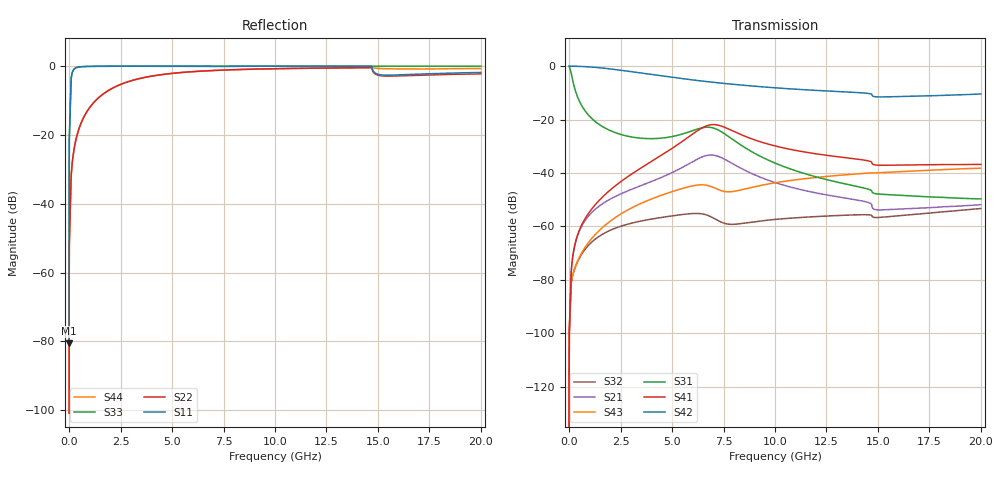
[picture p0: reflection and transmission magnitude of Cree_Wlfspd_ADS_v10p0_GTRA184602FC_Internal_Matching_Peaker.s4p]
! Created Fri Sep 18 17:02:47 2020
# hz S ma R 50
! 4 Port Network Data from SP1.SP block
! freq  magS11  angS11  magS12  angS12  magS13  angS13  magS14  angS14
!  magS21  angS21  magS22  angS22  magS23  angS23  magS24  angS24
!  magS31  angS31  magS32  angS32  magS33  angS33  magS34  angS34
!  magS41  angS41  magS42  angS42  magS43  angS43  magS44  angS44
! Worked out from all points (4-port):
!   1995 points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, 10 kHz to 20 GHz, reference 50 ohm
!   strongest paths, dB at 10 kHz, 5.04 GHz, 10.03 GHz, 15.02 GHz, 20 GHz:
!     S42: 0.0, -4.2, -8.1, -11.5, -10.4
!     S41: -159.2, -30.6, -29.9, -37.1, -36.8
!     S31: 0.0, -26.3, -36.4, -47.9, -49.7
!     S43: -159.2, -46.9, -43.6, -39.9, -38.2
!     S21: -159.2, -39.7, -43.6, -53.8, -51.9
!     S32: -159.2, -56.0, -57.4, -56.7, -53.3
!   lowest |S11| = -80.6 dB at 10 kHz (marker M1), VSWR 1.00, Z = 50 - j0.00888 ohm
!   |S11| at or under -10 dB: start of sweep to 66.89 MHz
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10000  9.342e-05 -71.9  1.101e-08 90.0  1 -0.0  1.101e-08 -90.0
       1.101e-08 90.0  9.016e-06 -16.8  1.101e-08 -90.0  1 -0.0
       1 -0.0  1.101e-08 -90.0  9.342e-05 -71.9  1.101e-08 90.0
       1.101e-08 -90.0  1 -0.0  1.101e-08 90.0  9.016e-06 -16.8
1.9e8  0.86 -150.4  0.0002938 96.1  0.5101 -60.2  0.0002953 -77.9
       0.0002938 96.1  0.04915 -93.0  0.0001292 -116.6  0.9988 -3.3
       0.5101 -60.2  0.0001292 -116.6  0.8599 -149.9  0.0001299 69.4
       0.0002953 -77.9  0.9988 -3.3  0.0001299 69.4  0.04915 -93.5
2.18e9  0.9978 169.4  0.003535 49.6  0.05816 -96.9  0.005498 -78.9
        0.003535 49.6  0.4914 -122.2  0.0009056 -132.8  0.8709 -34.7
        0.05816 -96.9  0.0009056 -132.8  0.9978 176.8  0.001408 98.7
        0.005498 -78.9  0.8709 -34.7  0.001408 98.7  0.4912 -127.1
5.98e9  0.9916 88.7  0.0161 -26.9  0.06161 -143.7  0.05298 -130.3
        0.0161 -26.9  0.8327 -154.3  0.001739 174.5  0.5533 -71.0
        0.06161 -143.7  0.001739 174.5  0.9972 164.3  0.005721 71.1
        0.05298 -130.3  0.5533 -71.0  0.005721 71.1  0.8308 -167.6
6.91e9  0.9856 -0.1  0.02171 -76.8  0.07101 170.7  0.08022 -177.4
        0.02171 -76.8  0.864 -159.1  0.001502 153.0  0.5028 -76.7
        0.07101 170.7  0.001502 153.0  0.9965 161.7  0.005548 52.3
        0.08022 -177.4  0.5028 -76.7  0.005548 52.3  0.8601 -174.3
9.82e9  0.9985 -146.5  0.006991 -164.4  0.01642 93.2  0.03348 101.3
        0.006991 -164.4  0.9172 -170.9  0.001331 163.1  0.3981 -91.2
        0.01642 93.2  0.001331 163.1  0.9987 153.5  0.006373 68.8
        0.03348 101.3  0.3981 -91.2  0.006373 68.8  0.9161 168.6
2e10  0.8106 174.7  0.002551 153.2  0.003271 64.0  0.01449 65.6
      0.002551 153.2  0.7722 170.0  0.002163 125.4  0.3012 -118.4
      0.003271 64.0  0.002163 125.4  0.9986 127.9  0.01229 37.9
      0.01449 65.6  0.3012 -118.4  0.01229 37.9  0.9225 125.7
